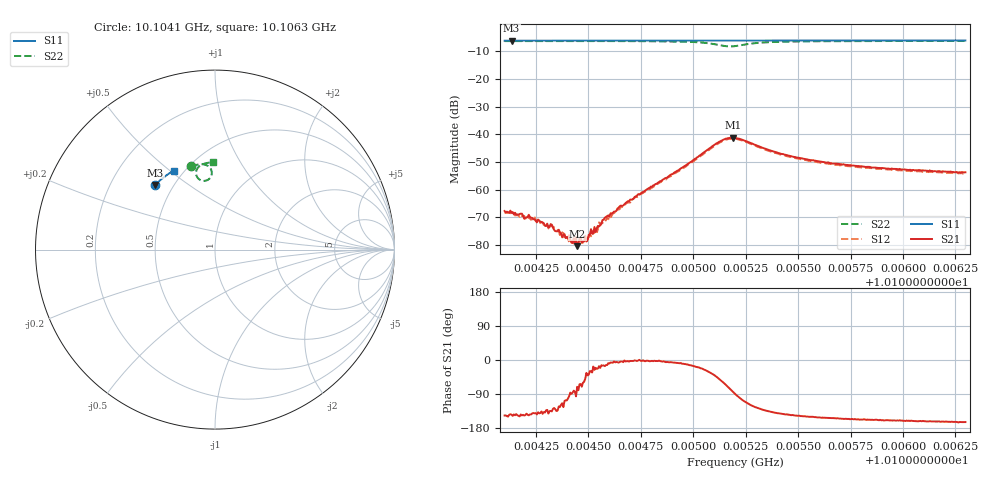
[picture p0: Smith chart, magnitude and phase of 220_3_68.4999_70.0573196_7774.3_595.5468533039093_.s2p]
#  HZ  S  RI  R  50.00
! Rohde & Schwarz Vector Network Analyzer
! Rohde-Schwarz,ZNB20-2Port,1311601062101988,3.16
! Created: UTC 3/20/2024, 5:13:37 PM
! freq[Hz]  re:S11  im:S11  re:S21  im:S21  re:S12  im:S12  re:S22  im:S22
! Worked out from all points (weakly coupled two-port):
!   401 points, 10.1041 GHz to 10.1063 GHz, reference 50 ohm
!   highest |S21| = -41.22 dB at 10.10519 GHz (marker M1); lowest = -80.4 dB at 10.10445 GHz (marker M2)
!   lowest |S11| = -6.2 dB at 10.10413 GHz (marker M3), VSWR 2.93, Z = 19.9 + j18.9 ohm
!   |S11| at or under -10 dB: nowhere
!   |S22| runs from -8.2 to -6.2 dB; largest |S21 - S12| = 0.00092
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1.01041e10  -0.3348 0.3593  -0.000343 -0.000228  -0.000306 -0.00024  -0.1311 0.465
1.0104133e10  -0.3333 0.3606  -0.000308 -0.000221  -0.000289 -0.000238  -0.1288 0.4658
1.0104227e10  -0.3293 0.3647  -0.00025 -0.000184  -0.000198 -0.000208  -0.1223 0.4677
1.0104309e10  -0.3256 0.3683  -0.000165 -0.000132  -0.000142 -0.000141  -0.1163 0.4694
1.0104336e10  -0.3243 0.3695  -0.000112 -0.00015  -0.00012 -0.000169  -0.1141 0.4699
1.0104419e10  -0.3209 0.3729  1.35e-06 -0.000111  -7.19e-06 -0.00012  -0.1079 0.4714
1.0104446e10  -0.3196 0.374  3.14e-05 -9e-05  -1.24e-06 -0.00011  -0.1055 0.4719
1.0104468e10  -0.3187 0.3749  3.69e-05 -0.000104  7.25e-05 -8.4e-05  -0.1038 0.4723
1.0104485e10  -0.3179 0.3756  9.53e-05 -0.000112  9.62e-05 -7.38e-05  -0.1024 0.4725
1.0104518e10  -0.3164 0.377  0.000133 -8.62e-05  0.000142 -8.15e-05  -0.0996 0.4732
1.0104545e10  -0.3151 0.3781  0.000205 -8.46e-05  0.000193 -5.56e-05  -0.0974 0.4736
1.0104556e10  -0.3148 0.3785  0.000212 -8.09e-05  0.000231 -3.95e-05  -0.0965 0.4738
1.0104578e10  -0.3138 0.3794  0.0003 -8.69e-05  0.000262 -1.14e-05  -0.0945 0.474
1.0104628e10  -0.3114 0.3814  0.000397 -4.31e-05  0.000397 -8.27e-07  -0.0899 0.4746
1.0104836e10  -0.3017 0.3897  0.00137 -3.84e-05  0.00133 1.88e-05  -0.0662 0.4752
1.0105122e10  -0.2881 0.4003  0.00476 -0.0055  0.00507 -0.00478  -0.0209 0.4106
1.0105188e10  -0.2851 0.4025  0.000953 -0.00864  0.00174 -0.00821  -0.0661 0.3829
1.0105199e10  -0.2847 0.4029  0.00011 -0.00857  0.000927 -0.00827  -0.0754 0.385
1.0105408e10  -0.2749 0.4109  -0.00353 -0.00289  -0.00316 -0.0031  -0.0923 0.4598
1.0105567e10  -0.267 0.4166  -0.00295 -0.00171  -0.00268 -0.00186  -0.0727 0.4738
1.0105935e10  -0.2484 0.429  -0.00224 -0.000843  -0.00208 -0.00102  -0.0395 0.4836
1.0106298e10  -0.2296 0.4403  -0.00198 -0.000575  -0.00183 -0.000716  -0.0127 0.4872
